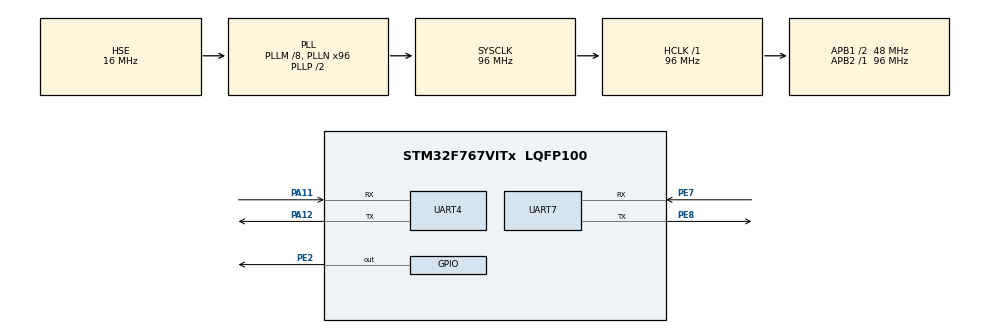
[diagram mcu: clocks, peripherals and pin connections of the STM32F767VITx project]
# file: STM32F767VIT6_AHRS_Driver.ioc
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Dma.Request0=UART7_RX
Dma.UART7_RX.0.Direction=DMA_PERIPH_TO_MEMORY
Dma.UART7_RX.0.FIFOMode=DMA_FIFOMODE_DISABLE
Dma.UART7_RX.0.Instance=DMA1_Stream3
Dma.UART7_RX.0.MemDataAlignment=DMA_MDATAALIGN_BYTE
Dma.UART7_RX.0.MemInc=DMA_MINC_ENABLE
Dma.UART7_RX.0.Mode=DMA_NORMAL
Dma.UART7_RX.0.PeriphDataAlignment=DMA_PDATAALIGN_BYTE
Dma.UART7_RX.0.PeriphInc=DMA_PINC_DISABLE
Dma.UART7_RX.0.Priority=DMA_PRIORITY_HIGH
Mcu.Family=STM32F7
Mcu.Name=STM32F767VITx
Mcu.Package=LQFP100
NVIC.DMA1_Stream3_IRQn=true\:0\:0\:false\:false\:true\:false\:true
NVIC.PriorityGroup=NVIC_PRIORITYGROUP_4
NVIC.TIM2_IRQn=true\:0\:0\:false\:false\:true\:true\:true
NVIC.UART7_IRQn=true\:0\:0\:false\:false\:true\:true\:true
PA11.Mode=Asynchronous
PA11.Signal=UART4_RX
PA12.Mode=Asynchronous
PA12.Signal=UART4_TX
PE2.Signal=GPIO_Output
PE7.Mode=Asynchronous
PE7.Signal=UART7_RX
PE8.Mode=Asynchronous
PE8.Signal=UART7_TX
PH0/OSC_IN.Mode=HSE-External-Oscillator
PH0/OSC_IN.Signal=RCC_OSC_IN
PH1/OSC_OUT.Mode=HSE-External-Oscillator
PH1/OSC_OUT.Signal=RCC_OSC_OUT
ProjectManager.HeapSize=0x200
ProjectManager.StackSize=0x400
ProjectManager.TargetToolchain=Makefile
RCC.AHBFreq_Value=96000000
RCC.APB1CLKDivider=RCC_HCLK_DIV2
RCC.APB1Freq_Value=48000000
RCC.APB1TimFreq_Value=96000000
RCC.APB2Freq_Value=96000000
RCC.APB2TimFreq_Value=96000000
RCC.CortexFreq_Value=96000000
RCC.HCLKFreq_Value=96000000
RCC.HSE_VALUE=16000000
RCC.HSI_VALUE=16000000
RCC.LSE_VALUE=32768
RCC.PLLM=8
RCC.PLLN=96
RCC.PLLSourceVirtual=RCC_PLLSOURCE_HSE
RCC.SYSCLKFreq_VALUE=96000000
RCC.SYSCLKSource=RCC_SYSCLKSOURCE_PLLCLK
RCC.USBFreq_Value=96000000
RCC.VCOOutputFreq_Value=192000000
TIM1.Period=65000
TIM1.Prescaler=95
TIM2.Period=9999
TIM2.Prescaler=95
UART7.DataInvertParam=UART_ADVFEATURE_DATAINV_DISABLE
UART7.MSBFirstParam=UART_ADVFEATURE_MSBFIRST_DISABLE
VP_TIM1_VS_ClockSourceINT.Mode=Internal
VP_TIM2_VS_ClockSourceINT.Mode=Internal
board=custom

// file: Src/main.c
/* USER CODE BEGIN Header */
/**
  ******************************************************************************
  * @file           : main.c
  * @brief          : Main program body
  ******************************************************************************
  * @attention
  *
  * <h2><center>&copy; Copyright (c) 2021 STMicroelectronics.
  * All rights reserved.</center></h2>
  *
  * This software component is licensed by ST under BSD 3-Clause license,
  * the "License"; You may not use this file except in compliance with the
  * License. You may obtain a copy of the License at:
  *                        opensource.org/licenses/BSD-3-Clause
  *
  ******************************************************************************
  */
/* USER CODE END Header */

#include "main.h"

/* USER CODE BEGIN Includes */

#include <stdio.h>
#include <string.h>

/* USER CODE END Includes */

TIM_HandleTypeDef htim2;

UART_HandleTypeDef huart4;
UART_HandleTypeDef huart7;
DMA_HandleTypeDef hdma_uart7_rx;

/* USER CODE BEGIN PV */

int count1 = 0;
int led_count = 0;
int msg_rec_count = 0;

int time[5]; // array to store microsecond counts

HAL_StatusTypeDef ret = HAL_ERROR; //Variable to check if the command is sent correctly
uint8_t buff[50];
uint8_t AHRS_buff[54];

const uint8_t header[] = {0x54, 0xFA, 0xFF, 0x32, 0x31};
uint8_t req_data[] = {250, 01, 52, 00, 203};
uint8_t go_to_meas[] = {250U, 255U, 16U, 00U, 241U};

/* USER CODE END PV */

void SystemClock_Config(void);
static void MX_GPIO_Init(void);
static void MX_DMA_Init(void);
static void MX_TIM1_Init(void);
static void MX_TIM2_Init(void);
static void MX_UART4_Init(void);
static void MX_UART7_Init(void);

int main(void)
{

  /* MCU Configuration--------------------------------------------------------*/

  /* Reset of all peripherals, Initializes the Flash interface and the Systick. */
  HAL_Init();

  /* Configure the system clock */
  SystemClock_Config();

  /* Initialize all configured peripherals */
  MX_GPIO_Init();
  MX_DMA_Init();
  MX_TIM1_Init();
  MX_TIM2_Init();
  MX_UART4_Init();
  MX_UART7_Init();
  /* USER CODE BEGIN 2 */

  HAL_Delay(1000);

  LL_TIM_EnableCounter(TIM1);
  LL_TIM_SetCounter(TIM1, 0);

  HAL_Delay(1000);

  //AHRS initialization sending the command to Go To Measurements
  //ret = HAL_UART_Transmit(&huart7, go_to_meas, 5, HAL_MAX_DELAY);
  ret = HAL_UART_Transmit(&huart7, go_to_meas, 5, HAL_MAX_DELAY);

  if (ret == HAL_OK){
    sprintf((char*)buff, "GoToMeas OK!\n\r");
  }

  HAL_UART_Transmit(&huart4, buff, strlen((char*)buff), HAL_MAX_DELAY);

  //check txs bytes
  sprintf((char*)buff, "%d, %d, %d, %d, %d\n\r", go_to_meas[0], go_to_meas[1], go_to_meas[2], go_to_meas[3], go_to_meas[4]);

  HAL_UART_Transmit(&huart4, buff, strlen((char*)buff), HAL_MAX_DELAY);

  HAL_Delay(1000);

  HAL_TIM_Base_Start_IT(&htim2); // Start the interrupt for timer 2

  /* USER CODE END 2 */

  /* Infinite loop */
  /* USER CODE BEGIN WHILE */

  HAL_UART_Receive_DMA(&huart7, AHRS_buff, 4); // start the DMA receive from uart7, when rx complete calls the RxCpltClbk()

  while (1)
  {
    /* USER CODE END WHILE */

  }
}

void SystemClock_Config(void)
{
  RCC_OscInitTypeDef RCC_OscInitStruct = {0};
  RCC_ClkInitTypeDef RCC_ClkInitStruct = {0};
  RCC_PeriphCLKInitTypeDef PeriphClkInitStruct = {0};

  /** Configure the main internal regulator output voltage
  */
  __HAL_RCC_PWR_CLK_ENABLE();
  __HAL_PWR_VOLTAGESCALING_CONFIG(PWR_REGULATOR_VOLTAGE_SCALE3);
  /** Initializes the CPU, AHB and APB busses clocks
  */
  RCC_OscInitStruct.OscillatorType = RCC_OSCILLATORTYPE_HSE;
  RCC_OscInitStruct.HSEState = RCC_HSE_ON;
  RCC_OscInitStruct.PLL.PLLState = RCC_PLL_ON;
  RCC_OscInitStruct.PLL.PLLSource = RCC_PLLSOURCE_HSE;
  RCC_OscInitStruct.PLL.PLLM = 8;
  RCC_OscInitStruct.PLL.PLLN = 96;
  RCC_OscInitStruct.PLL.PLLP = RCC_PLLP_DIV2;
  RCC_OscInitStruct.PLL.PLLQ = 2;
  if (HAL_RCC_OscConfig(&RCC_OscInitStruct) != HAL_OK)
  {
    Error_Handler();
  }
  /** Activate the Over-Drive mode
  */
  if (HAL_PWREx_EnableOverDrive() != HAL_OK)
  {
    Error_Handler();
  }
  /** Initializes the CPU, AHB and APB busses clocks
  */
  RCC_ClkInitStruct.ClockType = RCC_CLOCKTYPE_HCLK|RCC_CLOCKTYPE_SYSCLK
                              |RCC_CLOCKTYPE_PCLK1|RCC_CLOCKTYPE_PCLK2;
  RCC_ClkInitStruct.SYSCLKSource = RCC_SYSCLKSOURCE_PLLCLK;
  RCC_ClkInitStruct.AHBCLKDivider = RCC_SYSCLK_DIV1;
  RCC_ClkInitStruct.APB1CLKDivider = RCC_HCLK_DIV2;
  RCC_ClkInitStruct.APB2CLKDivider = RCC_HCLK_DIV1;

  if (HAL_RCC_ClockConfig(&RCC_ClkInitStruct, FLASH_LATENCY_3) != HAL_OK)
  {
    Error_Handler();
  }
  PeriphClkInitStruct.PeriphClockSelection = RCC_PERIPHCLK_UART4|RCC_PERIPHCLK_UART7;
  PeriphClkInitStruct.Uart4ClockSelection = RCC_UART4CLKSOURCE_PCLK1;
  PeriphClkInitStruct.Uart7ClockSelection = RCC_UART7CLKSOURCE_PCLK1;
  if (HAL_RCCEx_PeriphCLKConfig(&PeriphClkInitStruct) != HAL_OK)
  {
    Error_Handler();
  }
}

static void MX_TIM1_Init(void)
{

  LL_TIM_InitTypeDef TIM_InitStruct = {0};

  /* Peripheral clock enable */
  LL_APB2_GRP1_EnableClock(LL_APB2_GRP1_PERIPH_TIM1);

  TIM_InitStruct.Prescaler = 95;
  TIM_InitStruct.CounterMode = LL_TIM_COUNTERMODE_UP;
  TIM_InitStruct.Autoreload = 65000;
  TIM_InitStruct.ClockDivision = LL_TIM_CLOCKDIVISION_DIV1;
  TIM_InitStruct.RepetitionCounter = 0;
  LL_TIM_Init(TIM1, &TIM_InitStruct);
  LL_TIM_DisableARRPreload(TIM1);
  LL_TIM_SetClockSource(TIM1, LL_TIM_CLOCKSOURCE_INTERNAL);
  LL_TIM_SetTriggerOutput(TIM1, LL_TIM_TRGO_RESET);
  LL_TIM_SetTriggerOutput2(TIM1, LL_TIM_TRGO2_RESET);
  LL_TIM_DisableMasterSlaveMode(TIM1);

}

static void MX_TIM2_Init(void)
{

  TIM_ClockConfigTypeDef sClockSourceConfig = {0};
  TIM_MasterConfigTypeDef sMasterConfig = {0};

  htim2.Instance = TIM2;
  htim2.Init.Prescaler = 95;
  htim2.Init.CounterMode = TIM_COUNTERMODE_UP;
  htim2.Init.Period = 9999;
  htim2.Init.ClockDivision = TIM_CLOCKDIVISION_DIV1;
  htim2.Init.AutoReloadPreload = TIM_AUTORELOAD_PRELOAD_DISABLE;
  if (HAL_TIM_Base_Init(&htim2) != HAL_OK)
  {
    Error_Handler();
  }
  sClockSourceConfig.ClockSource = TIM_CLOCKSOURCE_INTERNAL;
  if (HAL_TIM_ConfigClockSource(&htim2, &sClockSourceConfig) != HAL_OK)
  {
    Error_Handler();
  }
  sMasterConfig.MasterOutputTrigger = TIM_TRGO_RESET;
  sMasterConfig.MasterSlaveMode = TIM_MASTERSLAVEMODE_DISABLE;
  if (HAL_TIMEx_MasterConfigSynchronization(&htim2, &sMasterConfig) != HAL_OK)
  {
    Error_Handler();
  }

}

static void MX_UART4_Init(void)
{

  huart4.Instance = UART4;
  huart4.Init.BaudRate = 115200;
  huart4.Init.WordLength = UART_WORDLENGTH_8B;
  huart4.Init.StopBits = UART_STOPBITS_1;
  huart4.Init.Parity = UART_PARITY_NONE;
  huart4.Init.Mode = UART_MODE_TX_RX;
  huart4.Init.HwFlowCtl = UART_HWCONTROL_NONE;
  huart4.Init.OverSampling = UART_OVERSAMPLING_16;
  huart4.Init.OneBitSampling = UART_ONE_BIT_SAMPLE_DISABLE;
  huart4.AdvancedInit.AdvFeatureInit = UART_ADVFEATURE_NO_INIT;
  if (HAL_UART_Init(&huart4) != HAL_OK)
  {
    Error_Handler();
  }

}

static void MX_UART7_Init(void)
{

  huart7.Instance = UART7;
  huart7.Init.BaudRate = 115200;
  huart7.Init.WordLength = UART_WORDLENGTH_8B;
  huart7.Init.StopBits = UART_STOPBITS_1;
  huart7.Init.Parity = UART_PARITY_NONE;
  huart7.Init.Mode = UART_MODE_TX_RX;
  huart7.Init.HwFlowCtl = UART_HWCONTROL_NONE;
  huart7.Init.OverSampling = UART_OVERSAMPLING_16;
  huart7.Init.OneBitSampling = UART_ONE_BIT_SAMPLE_DISABLE;
  huart7.AdvancedInit.AdvFeatureInit = UART_ADVFEATURE_NO_INIT;
  if (HAL_UART_Init(&huart7) != HAL_OK)
  {
    Error_Handler();
  }

}

static void MX_DMA_Init(void)
{

  /* DMA controller clock enable */
  __HAL_RCC_DMA1_CLK_ENABLE();

  /* DMA interrupt init */
  /* DMA1_Stream3_IRQn interrupt configuration */
  HAL_NVIC_SetPriority(DMA1_Stream3_IRQn, 0, 0);
  HAL_NVIC_EnableIRQ(DMA1_Stream3_IRQn);

}

static void MX_GPIO_Init(void)
{
  GPIO_InitTypeDef GPIO_InitStruct = {0};

  /* GPIO Ports Clock Enable */
  __HAL_RCC_GPIOE_CLK_ENABLE();
  __HAL_RCC_GPIOH_CLK_ENABLE();
  __HAL_RCC_GPIOA_CLK_ENABLE();

  /*Configure GPIO pin Output Level */
  HAL_GPIO_WritePin(GPIOE, GPIO_PIN_2, GPIO_PIN_RESET);

  /*Configure GPIO pin : PE2 */
  GPIO_InitStruct.Pin = GPIO_PIN_2;
  GPIO_InitStruct.Mode = GPIO_MODE_OUTPUT_PP;
  GPIO_InitStruct.Pull = GPIO_NOPULL;
  GPIO_InitStruct.Speed = GPIO_SPEED_FREQ_LOW;
  HAL_GPIO_Init(GPIOE, &GPIO_InitStruct);

}

/* USER CODE BEGIN 4 */

//definition of IRQhandler functions callback
void HAL_TIM_PeriodElapsedCallback(TIM_HandleTypeDef* htim){

  if (htim==&htim2){

    if(led_count>=99){
      led_count = 0;
      HAL_GPIO_TogglePin(GPIOE, GPIO_PIN_2);//led toggle

    }

    led_count += 1;
  }
}

//UART Rx Complete callback
void HAL_UART_RxCpltCallback(UART_HandleTypeDef *huart){

  //if (huart == &huart7){

    time[0] = LL_TIM_GetCounter(TIM1); // get the tim1 timing between 2 complete receives from AHRS
    LL_TIM_SetCounter(TIM1, 0);

    sprintf((char*)buff, "delay = %d", time[0]);
    HAL_UART_Transmit(&huart4, buff, strlen((char*)buff), HAL_MAX_DELAY);

    if (AHRS_buff[0]==header[0] && AHRS_buff[1]==header[1] && AHRS_buff[2]==header[2] && AHRS_buff[3]==header[3]){
      msg_rec_count += 1;
      sprintf((char*)buff, "Header_Ident = %d", msg_rec_count);
      HAL_UART_Transmit(&huart4, buff, strlen((char*)buff), HAL_MAX_DELAY);
    }

    HAL_UART_Receive_DMA (&huart7, AHRS_buff, 54); //Enables a new receive from AHRS and wait for complete receive
  //}

}

/* USER CODE END 4 */

void Error_Handler(void)
{
}

/************************ (C) COPYRIGHT STMicroelectronics *****END OF FILE****/
